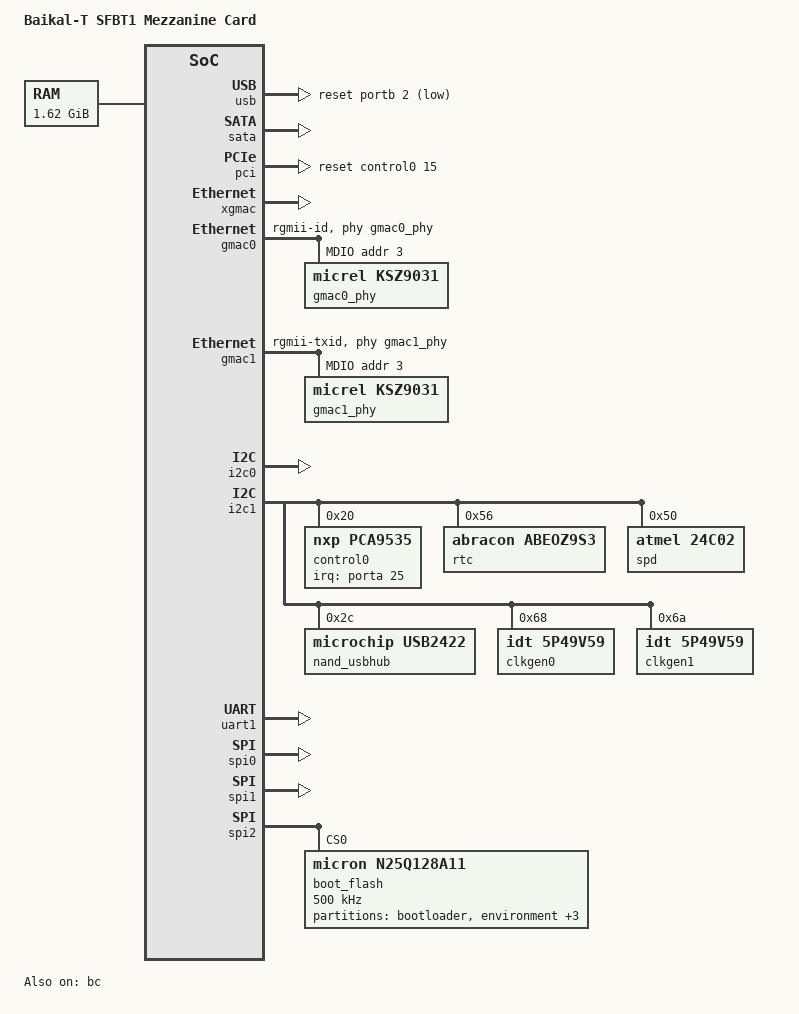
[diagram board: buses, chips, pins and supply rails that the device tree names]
/*
 * Baikal-T SFBT1 card device tree
 *
 * Copyright (C) 2016-2018 T-platforms JSC
 *
 * This program is free software; you can redistribute it and/or
 * modify it under the terms of the GNU General Public License
 * as published by the Free Software Foundation; either version 2
 * of the License, or (at your option) any later version.
 */

#include <dt-bindings/interrupt-controller/mips-gic.h>
#include <dt-bindings/gpio/gpio.h>

#include "baikal_t_soc.dtsi"
#include "baikal_mdio.dtsi"

/ {
	model = "Baikal-T SFBT1 Mezzanine Card";
	compatible = "baikal,mips", "baikal,baikal-t-soc", "tplatforms,baikal-sfbt1-card";

	chosen {
		bootargs = "root=/dev/ram rw console=ttyS0,115200 earlyprintk=uart8250,mmio32,0x1F04A000,115200 nohtw";
		linux,initrd-start = <0 0x01000000>;
		linux,initrd-end   = <0 0x02000000>;
	};

	memory {
		device_type = "memory";
		reg = <0 0x00000000 0 0x08000000>,
		      <0 0x20000000 0 0x60000000>;
	};
};

&usb {
	status = "okay";

	reset-gpio = <&portb 2 GPIO_ACTIVE_LOW>;
};

&sata {
	status = "okay";
};

&pci {
	status = "okay";

	/* Deassert downstream devices reset pin */
	reset-gpio = <&control0 15 GPIO_ACTIVE_HIGH>;
};

&xgmac {
	status = "okay";
};

&gmac0 {
	status = "okay";
	phy-mode = "rgmii-id";
	phy-handle = <&gmac0_phy>;
	snps,reset-gp-out;
	snps,reset-active-low;
	snps,reset-delays-us = <0 10200 1000>;

	gmdio0: gmac0_mdio {
		compatible = "snps,dwmac-mdio";
		#address-cells = <1>;
		#size-cells = <0>;

		gmac0_phy: ethernet-phy@3 {
			compatible = "micrel,ksz9031", "ethernet-phy-id0022.1620", "ethernet-phy-ieee802.3-c22";
			reg = <0x3>;

			txd0-skew-ps = <0>;
			txd1-skew-ps = <0>;
			txd2-skew-ps = <0>;
			txd3-skew-ps = <0>;
			txc-skew-ps  = <0xff>;
		};
	};
};

&gmac1 {
	status = "okay";
	phy-mode = "rgmii-txid";
	phy-handle = <&gmac1_phy>;
	snps,reset-gp-out;
	snps,reset-active-low;
	snps,reset-delays-us = <0 10200 1000>;

	gmdio1: gmac1-mdio {
		compatible = "snps,dwmac-mdio";
		#address-cells = <1>;
		#size-cells = <0>;

		gmac1_phy: ethernet-phy@3 {
			compatible = "micrel,ksz9031", "ethernet-phy-id0022.1620", "ethernet-phy-ieee802.3-c22";
			reg = <0x3>;

			txd0-skew-ps = <0>;
			txd1-skew-ps = <0>;
			txd2-skew-ps = <0>;
			txd3-skew-ps = <0>;
			txc-skew-ps  = <0xff>;
		};
	};
};

&gpio {
	status = "okay";
};

&gpio3 {
	status = "okay";
};

&bc {
	status = "okay";
};

&i2c0 {
	status = "okay";
};

&i2c1 {
	status = "okay";

	control0: gpioexp@20 {
		compatible = "nxp,pca9535";
		reg = <0x20>;
		gpio-controller;
		#gpio-cells = <2>;
		interrupt-parent = <&porta>;
		interrupts = <25 IRQ_TYPE_LEVEL_LOW>;
		interrupt-controller;
		#interrupt-cells = <2>;
		ngpios = <16>; /* Informative */
	};

	rtc: rtc@56 {
		compatible = "abracon,abeoz9s3";
		reg = <0x56>;
		trickle-resistor-ohms = <5000>;
	};

	spd: eeprom@50 {
		compatible = "atmel,24c02";
		reg = <0x50>;
		pagesize = <8>;
	};

	nand_usbhub: usbhub@2C {
		compatible = "microchip,usb2422";
		reg = <0x2C>;
	};

	clkgen0: clkgen@68 {
		compatible = "idt,5p49v59";
		reg = <0x68>;
	};

	clkgen1: clkgen@6A {
		compatible = "idt,5p49v59";
		reg = <0x6A>;
	};
};

&uart1 {
	status = "okay";
};

&spi0 {
	status = "okay";
	num-cs = <4>;
};

&spi1 {
	status = "okay";
	num-cs = <4>;
};

&spi2 {
	status = "okay";
	num-cs = <1>;

	boot_flash: n25q128a11@0 {
		#address-cells = <1>;
		#size-cells = <1>;
		compatible = "micron,n25q128a11", "jedec,spi-nor";
		reg = <0>;
		spi-max-frequency = <500000>;
		m25p,fast-read;

		partition@0 {
			label = "bootloader";
			reg = <0x0 0xE0000>;
			read-only;
		};

		partition@1 {
			label = "environment";
			reg = <0xE0000 0x10000>;
		};

		partition@2 {
			label = "information";
			reg = <0xF0000 0x10000>;
			read-only;
		};

		partition@3 {
			label = "multiimage";
			reg = <0x100000 0xF00000>;
			read-only;
		};

		partition@4 {
			label = "firmware";
			reg = <0x0 0x1000000>;
		};
	};
};
